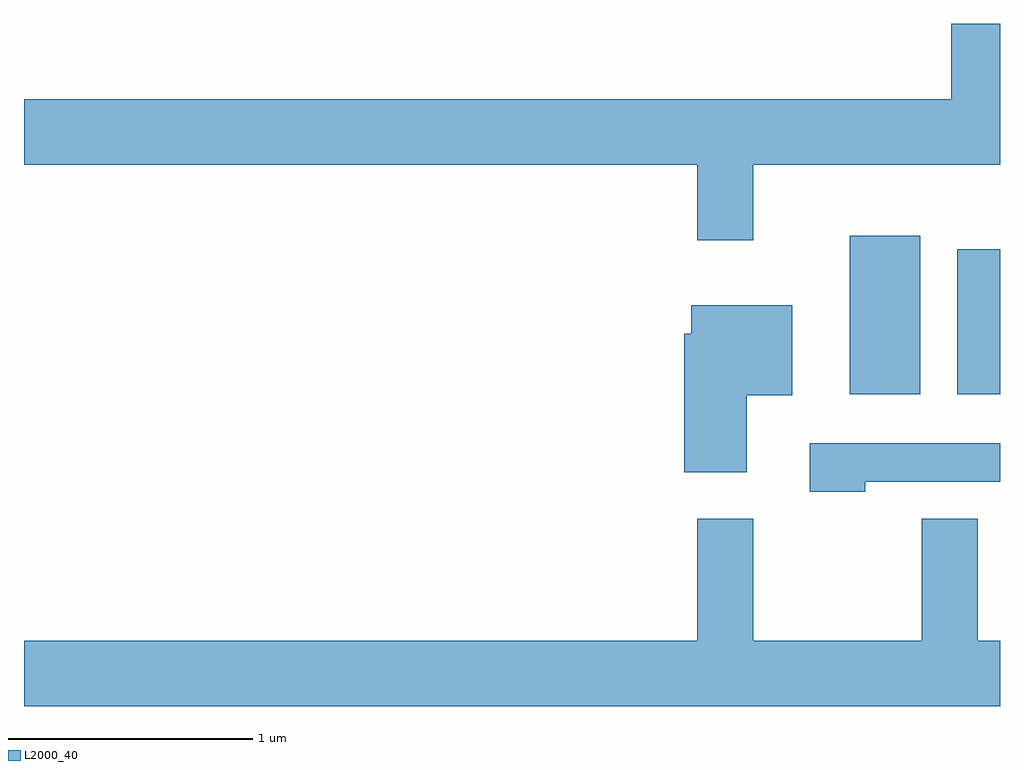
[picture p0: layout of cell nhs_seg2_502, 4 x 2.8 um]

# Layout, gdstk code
import gdstk
lib = gdstk.Library(unit=1e-6, precision=1e-09)
def R(c, l, rs):  # rectangles x0, y0, x1, y1
    for r in rs: c.add(gdstk.rectangle(r[:2], r[2:], *l))
def P(c, l, *ps):  # polygons
    for p in ps: c.add(gdstk.Polygon(p, *l))
L2000_40 = (2000, 40)

nhs_seg2_502 = lib.new_cell('nhs_seg2_502')
R(nhs_seg2_502, L2000_40, [(202.996,1031.836,203.284,1032.484), (203.436,1031.836,203.611,1032.429)])
P(nhs_seg2_502, L2000_40, [(202.599,1032.776),(203.611,1032.776),(203.611,1033.354),(203.411,1033.354),(203.411,1033.044),(199.611,1033.044),(199.611,1032.776),(202.371,1032.776),(202.371,1032.466),(202.599,1032.466)],
  [(202.574,1031.831),(202.759,1031.831),(202.759,1032.199),(202.346,1032.199),(202.346,1032.084),(202.316,1032.084),(202.316,1031.516),(202.574,1031.516)],
  [(203.059,1031.476),(203.611,1031.476),(203.611,1031.634),(202.831,1031.634),(202.831,1031.436),(203.059,1031.436)],
  [(203.611,1030.824),(203.519,1030.824),(203.519,1031.324),(203.291,1031.324),(203.291,1030.824),(202.599,1030.824),(202.599,1031.324),(202.371,1031.324),(202.371,1030.824),(199.611,1030.824),(199.611,1030.556),(203.611,1030.556)])

lib.write_gds('nhs_seg2_502.gds')
